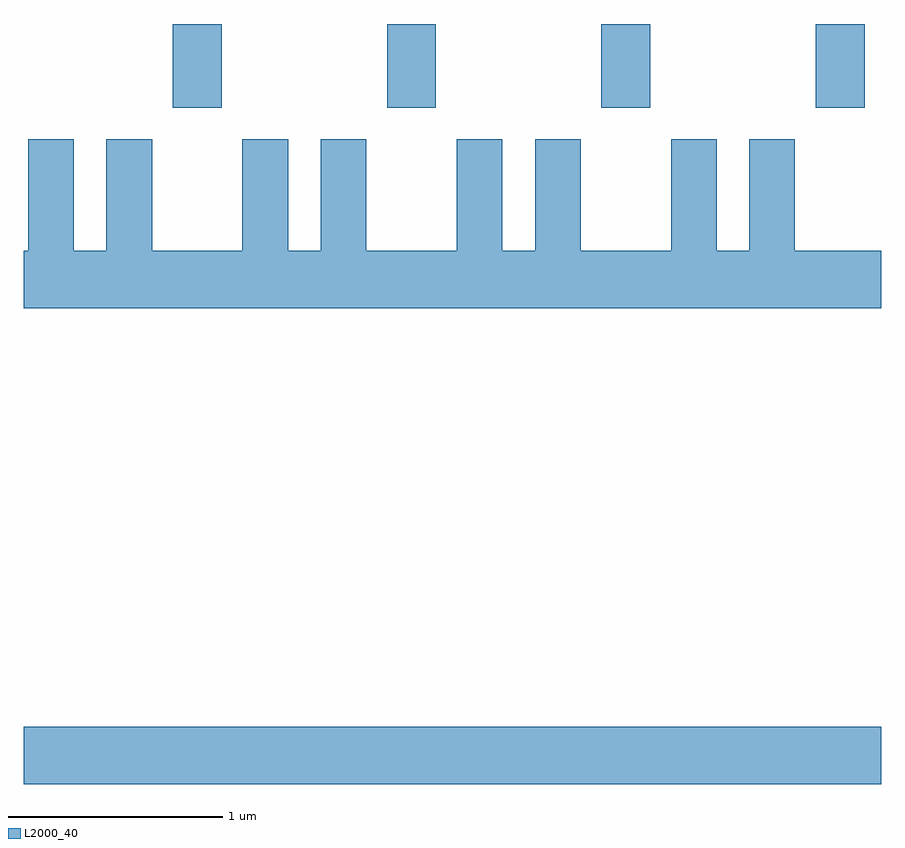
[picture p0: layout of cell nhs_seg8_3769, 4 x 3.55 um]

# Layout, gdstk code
import gdstk
lib = gdstk.Library(unit=1e-6, precision=1e-09)
def R(c, l, rs):  # rectangles x0, y0, x1, y1
    for r in rs: c.add(gdstk.rectangle(r[:2], r[2:], *l))
def A(c, l, x, y, w, h, nx, ny, dx, dy):  # array of equal rectangles
    R(c, l, [(x+i*dx, y+j*dy, x+i*dx+w, y+j*dy+h) for i in range(nx) for j in range(ny)])
def P(c, l, *ps):  # polygons
    for p in ps: c.add(gdstk.Polygon(p, *l))
L2000_40 = (2000, 40)

nhs_seg8_3769 = lib.new_cell('nhs_seg8_3769')
A(nhs_seg8_3769, L2000_40, 298.306, 1903.951, 0.228, 0.391, 4, 1, 1, 0)
R(nhs_seg8_3769, L2000_40, [(297.611,1900.796,301.611,1901.064)])
P(nhs_seg8_3769, L2000_40, [(301.611,1903.284),(301.209,1903.284),(301.209,1903.804),(300.996,1903.804),(300.996,1903.284),(300.844,1903.284),(300.844,1903.804),(300.631,1903.804),(300.631,1903.284),(300.209,1903.284),(300.209,1903.804),(299.996,1903.804),(299.996,1903.284),(299.844,1903.284),(299.844,1903.804),(299.631,1903.804),(299.631,1903.284),(299.209,1903.284),(299.209,1903.804),(298.996,1903.804),(298.996,1903.284),(298.844,1903.284),(298.844,1903.804),(298.631,1903.804),(298.631,1903.284),(298.209,1903.284),(298.209,1903.804),(297.996,1903.804),(297.996,1903.284),(297.844,1903.284),(297.844,1903.804),(297.631,1903.804),(297.631,1903.284),(297.611,1903.284),(297.611,1903.016),(301.611,1903.016)])

lib.write_gds('nhs_seg8_3769.gds')
